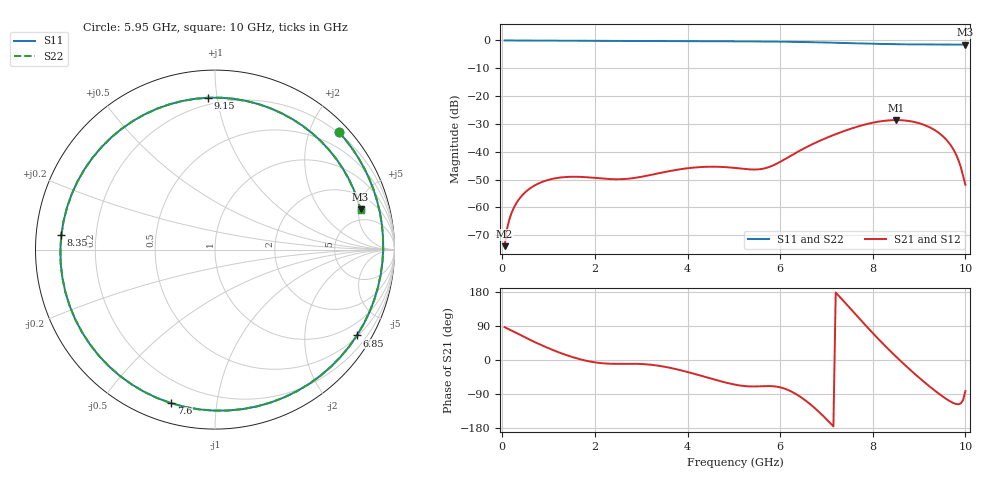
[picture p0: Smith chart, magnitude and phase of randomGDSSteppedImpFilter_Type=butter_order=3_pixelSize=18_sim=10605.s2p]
! freq	dB(S11)	phase(S11)	dB(S12)	phase(S12)
!  dB(S21)	phase(S21)	dB(S22)	phase(S22)
!S-par simulation data
#  GHz  S  DB  R 50
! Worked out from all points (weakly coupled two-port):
!   200 points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, 50 MHz to 10 GHz, reference 50 ohm
!   highest |S21| = -28.63 dB at 8.5 GHz (marker M1); lowest = -74.0 dB at 50 MHz (marker M2)
!   lowest |S11| = -1.5 dB at 10 GHz (marker M3), VSWR 11.59, Z = 171 + j261 ohm
!   |S11| at or under -10 dB: nowhere
!   |S22| runs from -1.5 to 0.0 dB; largest |S21 - S12| = 0
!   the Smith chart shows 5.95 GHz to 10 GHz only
!   S11 on the Smith chart (normalised r, x): 5.95 GHz: 0.18, +2.50; 6.85 GHz: 0.53, -3.51; 7.6 GHz: 0.09, -0.75; 8.35 GHz: 0.08, +0.05; 9.15 GHz: 0.16, +0.94; 10 GHz: 3.41, +5.22
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0.05  -0.00 -3.2  -73.95 86.7  -73.95 86.7  -0.00 -3.2
0.2  -0.02 -12.6  -61.99 77.4  -61.99 77.4  -0.02 -12.6
0.5  -0.04 -31.2  -54.51 59.0  -54.51 59.0  -0.04 -31.2
1.1  -0.08 -66.7  -49.69 26.0  -49.69 26.0  -0.08 -66.7
1.75  -0.12 -101.8  -49.09 -0.2  -49.09 -0.2  -0.12 -101.9
2.6  -0.15 -142.9  -49.85 -10.1  -49.85 -10.1  -0.15 -142.9
3.4  -0.19 -179.0  -47.65 -15.6  -47.65 -15.6  -0.19 -179.0
4.2  -0.23 144.4  -45.61 -38.4  -45.61 -38.4  -0.23 144.4
5.05  -0.30 100.8  -45.88 -65.6  -45.88 -65.6  -0.30 100.7
5.5  -0.36 73.9  -46.38 -69.7  -46.38 -69.7  -0.36 73.9
5.95  -0.43 43.4  -44.09 -70.9  -44.09 -70.9  -0.43 43.4
6.35  -0.52 12.6  -40.32 -90.4  -40.32 -90.4  -0.52 12.5
6.7  -0.63 -17.4  -37.27 -121.9  -37.27 -121.9  -0.63 -17.6
6.85  -0.68 -31.2  -36.11 -138.4  -36.11 -138.4  -0.68 -31.3
7.25  -0.85 -70.0  -33.37 171.6  -33.37 171.6  -0.85 -70.1
7.6  -1.01 -105.9  -31.33 124.3  -31.33 124.3  -1.01 -106.0
8  -1.19 -148.2  -29.57 71.0  -29.57 71.0  -1.19 -148.3
8.35  -1.31 174.7  -28.73 27.1  -28.73 27.1  -1.31 174.6
8.5  -1.35 158.9  -28.63 9.1  -28.63 9.1  -1.35 158.8
9.15  -1.44 92.6  -30.63 -62.1  -30.63 -62.1  -1.44 92.5
9.7  -1.47 41.1  -38.07 -111.1  -38.07 -111.1  -1.47 41.0
10  -1.50 15.4  -51.87 -82.0  -51.87 -82.0  -1.50 15.2
